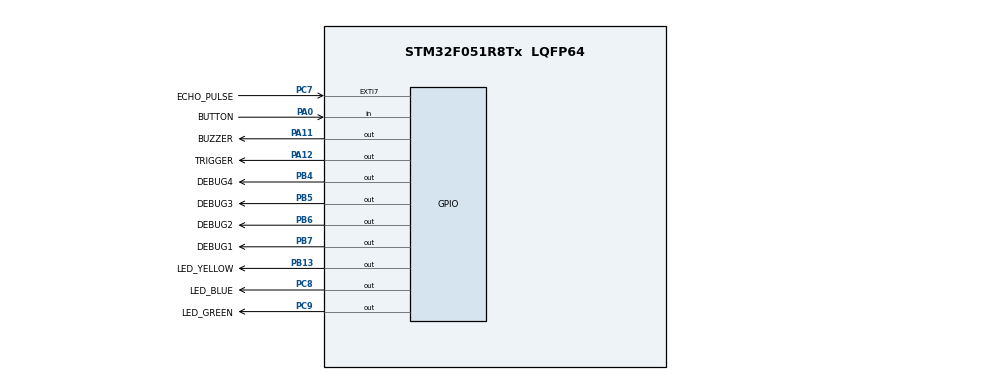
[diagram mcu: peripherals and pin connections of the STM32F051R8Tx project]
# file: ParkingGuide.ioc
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Mcu.Family=STM32F0
Mcu.Name=STM32F051R8Tx
Mcu.Package=LQFP64
NVIC.EXTI4_15_IRQn=true\:0\:0\:false\:false\:true\:true\:true
NVIC.TIM14_IRQn=true\:0\:0\:false\:false\:true\:true\:true
PA0.GPIO_Label=BUTTON
PA0.GPIO_PuPd=GPIO_PULLDOWN
PA0.Signal=GPIO_Input
PA11.GPIO_Label=BUZZER
PA11.PinState=GPIO_PIN_SET
PA11.Signal=GPIO_Output
PA12.GPIO_Label=TRIGGER
PA12.Signal=GPIO_Output
PB13.GPIO_Label=LED_YELLOW
PB13.Signal=GPIO_Output
PB4.GPIO_Label=DEBUG4
PB4.Signal=GPIO_Output
PB5.GPIO_Label=DEBUG3
PB5.Signal=GPIO_Output
PB6.GPIO_Label=DEBUG2
PB6.Signal=GPIO_Output
PB7.GPIO_Label=DEBUG1
PB7.Signal=GPIO_Output
PC7.GPIO_Label=ECHO_PULSE
PC7.GPIO_ModeDefaultEXTI=GPIO_MODE_IT_FALLING
PC7.Signal=GPXTI7
PC8.GPIO_Label=LED_BLUE
PC8.PinState=GPIO_PIN_SET
PC8.Signal=GPIO_Output
PC9.GPIO_Label=LED_GREEN
PC9.PinState=GPIO_PIN_SET
PC9.Signal=GPIO_Output
ProjectManager.HeapSize=0x200
ProjectManager.StackSize=0x400
ProjectManager.TargetToolchain=STM32CubeIDE
TIM14.Period=8000
TIM14.Prescaler=100
VP_TIM14_VS_ClockSourceINT.Mode=Enable_Timer
VP_TIM2_VS_ClockSourceINT.Mode=Internal
VP_TIM6_VS_ClockSourceINT.Mode=Enable_Timer
board=custom

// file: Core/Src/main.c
/* USER CODE BEGIN Header */
/**
  ******************************************************************************
  * @file           : main.c
  * @brief          : Main program body
  ******************************************************************************
  * @attention
  *
  * <h2><center>&copy; Copyright (c) 2021 STMicroelectronics.
  * All rights reserved.</center></h2>
  *
  * This software component is licensed by ST under BSD 3-Clause license,
  * the "License"; You may not use this file except in compliance with the
  * License. You may obtain a copy of the License at:
  *                        opensource.org/licenses/BSD-3-Clause
  *
  ******************************************************************************
  */
/* USER CODE END Header */
#include "main.h"

/* USER CODE BEGIN PTD */
/**
 * @details state machine states used to program a new parking distance
 */
typedef enum _ConfigState_e
{
	eConfigState_Idle,
	eConfigState_ButtonPressed,
	eConfigState_NewDistance,
	eConfigState_ProgramDistance,
	eConfigState_Done,
}eConfigState_t;

/**
 * Structure of state machine control states used of when a new parking
 * distance is being requested by the user.
 */
typedef struct _UserState_s
{
	uint32_t buttonCnt; //< delay count
	eConfigState_t state; //< what the program state is
	uint32_t distance; //< distance to program
}sUserState_t;

/* USER CODE END PTD */

/* USER CODE BEGIN PD */

#define DISTANCE (1200)
#define DISTANCE_MARGINE (100)
#define FLASH_SECTOR_START_ADDRESS (0x800c000)
#define TIME_ARRAY_SIZE (4) //< number of samples to avg for better distance

/* USER CODE END PD */

TIM_HandleTypeDef htim2;
TIM_HandleTypeDef htim6;
TIM_HandleTypeDef htim14;

/* USER CODE BEGIN PV */
static uint32_t tl_TimestampIdx = 0;
static uint32_t tl_TimeArraySum = 0;
static uint32_t tl_AvgTime;
static uint32_t tl_StartTime;
static uint32_t tl_EndTime;
static uint32_t tl_DeltaTime;
static uint32_t tl_Distance;
static uint32_t tl_MeasureDistance = DISTANCE;

static uint8_t tl_DistanceReadyFlag = 0;
static sUserState_t tl_UserConfig = {.buttonCnt=0,.state=eConfigState_Idle};

/* USER CODE END PV */

void SystemClock_Config(void);
static void MX_GPIO_Init(void);
static void MX_TIM14_Init(void);
static void MX_TIM6_Init(void);
static void MX_TIM2_Init(void);
/* USER CODE BEGIN PFP */

/**
 * GPIO pin for timing/testing
 */
static void SetDebug1()
{
	HAL_GPIO_WritePin(DEBUG1_GPIO_Port, DEBUG1_Pin, GPIO_PIN_SET);
}

/**
 * GPIO pin for timing/testing
 */
static void ClrDebug1()
{
	HAL_GPIO_WritePin(DEBUG1_GPIO_Port, DEBUG1_Pin, GPIO_PIN_RESET);
}

/**
 * GPIO pin for timing/testing
 */
static void SetDebug2()
{
	HAL_GPIO_WritePin(DEBUG2_GPIO_Port, DEBUG2_Pin, GPIO_PIN_SET);
}

/**
 * GPIO pin for timing/testing
 */
static void ClrDebug2()
{
	HAL_GPIO_WritePin(DEBUG2_GPIO_Port, DEBUG2_Pin, GPIO_PIN_RESET);
}

/**
 * GPIO pin for timing/testing
 */
static void SetDebug3()
{
	HAL_GPIO_WritePin(DEBUG3_GPIO_Port, DEBUG3_Pin, GPIO_PIN_SET);
}

/**
 * GPIO pin for timing/testing
 */
static void ClrDebug3()
{
	HAL_GPIO_WritePin(DEBUG3_GPIO_Port, DEBUG3_Pin, GPIO_PIN_RESET);
}

/**
 * GPIO pin for timing/testing
 */
static void SetDebug4()
{
	HAL_GPIO_WritePin(DEBUG4_GPIO_Port, DEBUG4_Pin, GPIO_PIN_SET);
}

/**
 * GPIO pin for timing/testing
 */
static void ClrDebug4()
{
	HAL_GPIO_WritePin(DEBUG4_GPIO_Port, DEBUG4_Pin, GPIO_PIN_RESET);
}

/**
 * @brief Set the Trigger GPIO
 */
static void SetTrigger()
{
	HAL_GPIO_WritePin(TRIGGER_GPIO_Port, TRIGGER_Pin, GPIO_PIN_SET);
}

/**
 * @brief Clear the Trigger GPIO
 */
static void ClrTrigger()
{
	HAL_GPIO_WritePin(TRIGGER_GPIO_Port, TRIGGER_Pin, GPIO_PIN_RESET);
}

/**
 * @brief Set the Blue LED
 */
static void SetBlueLED()
{
	HAL_GPIO_WritePin(LED_BLUE_GPIO_Port, LED_BLUE_Pin, GPIO_PIN_SET);
}

/**
 * @brief Clear the Blue LED
 */
static void ClrBlueLED()
{
	HAL_GPIO_WritePin(LED_BLUE_GPIO_Port, LED_BLUE_Pin, GPIO_PIN_RESET);
}

/**
 * @brief Toggle the Blue LED
 */
static void ToggleBlueLED()
{
	HAL_GPIO_TogglePin(LED_BLUE_GPIO_Port, LED_BLUE_Pin);
}

/**
 * @brief Set the Green LED
 */
static void SetGreenLED()
{
	  HAL_GPIO_WritePin(LED_GREEN_GPIO_Port, LED_GREEN_Pin, GPIO_PIN_SET);
}

/**
 * @brief Clear the Green LED
 */
static void ClrGreenLED()
{
	  HAL_GPIO_WritePin(LED_GREEN_GPIO_Port, LED_GREEN_Pin, GPIO_PIN_RESET);
}

/**
 * @brief Toggle the Green LED
 */
static void ToggleGreenLED()
{
	HAL_GPIO_TogglePin(LED_GREEN_GPIO_Port, LED_GREEN_Pin);
}

///**
// * @brief Set the Yellow LED
// */
//static void SetYellowLED()
//{
//	HAL_GPIO_WritePin(LED_YELLOW_GPIO_Port, LED_YELLOW_Pin, GPIO_PIN_SET);
//}

/**
 * @brief Clear the Yellow LED
 */
static void ClrYellowLED()
{
	HAL_GPIO_WritePin(LED_YELLOW_GPIO_Port, LED_YELLOW_Pin, GPIO_PIN_RESET);
}

/**
 * @brief Toggle the Yellow LED
 */
static void ToggleYellowLED()
{
	HAL_GPIO_TogglePin(LED_YELLOW_GPIO_Port, LED_YELLOW_Pin);
}

/**
 * @brief Toggle buzzer output
 */
static void ToggleBuzzer()
{
	HAL_GPIO_TogglePin(BUZZER_GPIO_Port, BUZZER_Pin);
}

/**
 * @brief Turn Buzzer OFF
 */
static void BuzzerOFF()
{
	HAL_GPIO_WritePin(BUZZER_GPIO_Port, BUZZER_Pin, GPIO_PIN_RESET);
}

/**
 * @brief Turn Buzzer ON
 */
static void BuzzerON()
{
	HAL_GPIO_WritePin(BUZZER_GPIO_Port, BUZZER_Pin, GPIO_PIN_SET);
}

/**
 * @brief Read the user button press
 */
static uint8_t ReadButton()
{
	uint8_t buttonFlag = 0;
	if( HAL_GPIO_ReadPin(BUTTON_GPIO_Port, BUTTON_Pin) )
	{
		buttonFlag = 1;
	}
	return buttonFlag;
}

/**
 * @brief State machine to program new parking distance to FLASH
 */
static void SetUserConfig(sUserState_t *ptrConfig)
{
#define PRE_BUTTON_PRESSED_TIME  (2) // number of counts before we deem the button is pressed
#define BUTTON_PRESSED_TIME (6)
#define DEFINE_NEW_DISTANCE (4)

	switch(ptrConfig->state)
	{
	case eConfigState_Idle:
		SetDebug1();
		ClrDebug1();
		if( ptrConfig->buttonCnt < PRE_BUTTON_PRESSED_TIME )
		{
			ptrConfig->buttonCnt++;
		}
		else
		{
			ptrConfig->buttonCnt=0;
			ptrConfig->state = eConfigState_ButtonPressed;
			ClrBlueLED();
			ClrGreenLED();
			ptrConfig->distance = 0;
		}
		break;
	case eConfigState_ButtonPressed:
		SetDebug2();
		ClrDebug2();
		ToggleYellowLED();
		if( ptrConfig->buttonCnt < BUTTON_PRESSED_TIME )
		{
			ptrConfig->buttonCnt++;
		}
		else
		{
			ptrConfig->buttonCnt=0;
			ptrConfig->state = eConfigState_NewDistance;
			ClrYellowLED();
		}
		break;
	case eConfigState_NewDistance:
		SetDebug3();
		ClrDebug3();
		ToggleBlueLED();
		ToggleGreenLED();
		if( ptrConfig->buttonCnt < DEFINE_NEW_DISTANCE )
		{
			ptrConfig->buttonCnt++;
			ptrConfig->distance += tl_Distance;
		}
		else
		{
			ptrConfig->buttonCnt=0;
			ptrConfig->distance = ptrConfig->distance / DEFINE_NEW_DISTANCE;
			ptrConfig->state = eConfigState_ProgramDistance;
		}
		break;
	case eConfigState_ProgramDistance:
		SetDebug4();
		ClrDebug4();
		ptrConfig->state = eConfigState_Done;
		break;
	case eConfigState_Done:
		SetDebug4();
		ClrDebug4();
		break;
	}
}

/**
 * @brief API to read word of data from FLASH
 */
static void FlashReadData (uint32_t StartPageAddress, uint32_t *RxBuf, uint16_t numberofwords)
{
	while (1)
	{
		*RxBuf = *(__IO uint32_t *)StartPageAddress;
		StartPageAddress += 4;
		RxBuf++;
		if (!(numberofwords--))
			break;
	}
}

/**
 * @brief Read the parking distance from FLASH
 */
static uint32_t ReadDistanceFromFlash()
{
	uint32_t distance = 0;

	FlashReadData (FLASH_SECTOR_START_ADDRESS,&distance,1);

	if( distance > (20*12*100) )
		distance = DISTANCE;
	return distance;
}

/**
 * @brief program parking distance word to FLASH
 */
static uint32_t ProgramDistanceToFlash(uint32_t NewDistance)
{
	static FLASH_EraseInitTypeDef EraseInitStruct;

	uint32_t errorMsg = 0;

	/* Fill EraseInit structure*/
	EraseInitStruct.TypeErase   = FLASH_TYPEERASE_PAGES;
	EraseInitStruct.PageAddress = FLASH_SECTOR_START_ADDRESS;
	EraseInitStruct.NbPages     = 1;

	HAL_FLASH_Unlock();

	if (HAL_FLASHEx_Erase(&EraseInitStruct, &errorMsg) != HAL_OK)
	{
		/*Error occurred while page erase.*/
		errorMsg = HAL_FLASH_GetError ();
	}

	if (HAL_FLASH_Program(FLASH_TYPEPROGRAM_WORD
			, FLASH_SECTOR_START_ADDRESS
			, NewDistance)
			!= HAL_OK)
	{
		/*Error occurred while page erase.*/
		errorMsg = HAL_FLASH_GetError ();
	}

	HAL_FLASH_Lock();
	return errorMsg;
}

/* USER CODE END PFP */

/* USER CODE BEGIN 0 */
/**
 * @brief TIM14 Callback handler - Trigger pulse generation
 *
 * @detail This callback will be called every 100ms from the
 * TIM14 timer.  This is needed as the HC-SR04 requires a short
 * trigger pulse to start a measurement.  According to the
 * HC-SR04 spec this pulse should not happen any faster than 60ms.
 * This method will also capture the time stamp to be used as part
 * of the HC-SR04 pulse distance pulse measurement.
 */
void HAL_TIM_PeriodElapsedCallback(TIM_HandleTypeDef *htim)
{
	if( htim->Instance== TIM14)
	{
		tl_StartTime = TIM2->CNT;
		SetTrigger();
		ClrTrigger();
	}
}

/**
 * @brief Interrupt Callback to be called when PC7 detects a falling edge
 *
 * @detail This callback method will be called on External Interrupt with
 * a falling edge trigger assigned to Port C7 pin.
 * When a falling edge is detected, this code will read the 32bit counter TIM2
 * and determine how long the time pulse generated by the HC-SR04 is.  This
 * pulse size divided by 148 will provide inches.
 * Now there is a constant time from when the Trigger pulse is generated until
 * when the HC-SR04 pulse is started.  This constant time of 500uS is subtracted.
 */
void HAL_GPIO_EXTI_Callback(uint16_t GPIO_Pin)
{
#define TIME_TO_PULSE (4000) // there is a constant time from start of pulse to subtract
#define CLOCK_RATE (8) // clock rate in MHz
#define TIME_TO_INCHES (148)
	if( tl_TimestampIdx++ < TIME_ARRAY_SIZE)
	{
		tl_EndTime = TIM2->CNT;

		if( tl_StartTime >  tl_EndTime )
		{
			tl_DeltaTime = (0xFFFFFFFF - tl_StartTime) + tl_EndTime;
		}
		else
		{
			tl_DeltaTime = tl_EndTime - tl_StartTime;
		}

		tl_TimeArraySum += tl_DeltaTime;

	}
	else
	{

		tl_AvgTime = tl_TimeArraySum / TIME_ARRAY_SIZE;
		tl_Distance = ((tl_AvgTime - TIME_TO_PULSE)*100)/ (CLOCK_RATE * TIME_TO_INCHES);
		tl_TimestampIdx = 0;
		tl_TimeArraySum = 0;
		tl_DistanceReadyFlag = 1;
	}
}

/* USER CODE END 0 */

int main(void)
{

  /* MCU Configuration--------------------------------------------------------*/

  /* Reset of all peripherals, Initializes the Flash interface and the Systick. */
  HAL_Init();

  /* Configure the system clock */
  SystemClock_Config();

  /* Initialize all configured peripherals */
  MX_GPIO_Init();
  MX_TIM14_Init();
  MX_TIM6_Init();
  MX_TIM2_Init();
  /* USER CODE BEGIN 2 */

  TIM1->CCR1 = 1;
  HAL_TIM_Base_Start_IT(&htim14);
  HAL_TIM_Base_Start(&htim6);
  HAL_TIM_Base_Start(&htim2);

  tl_MeasureDistance = ReadDistanceFromFlash();

  /* USER CODE END 2 */

  /* Infinite loop */
  while (1)
  {

    /* USER CODE BEGIN 3 */
	  if(tl_DistanceReadyFlag)
	  {
		  /*
		   * loop every half second to provide details
		   * to user
		   */
		  tl_DistanceReadyFlag = 0;
		  if (ReadButton() )
		  {
			  SetUserConfig( &tl_UserConfig);
			  if( tl_UserConfig.state > eConfigState_ProgramDistance )
			  {
				  tl_MeasureDistance = tl_UserConfig.distance;
				  ProgramDistanceToFlash(tl_MeasureDistance);
			  }
		  }
		  else
		  {
			  if( tl_UserConfig.state)
			  {

				  tl_UserConfig.buttonCnt = 0;
				  tl_UserConfig.state = eConfigState_Idle;
			  }

			  if( tl_Distance < (tl_MeasureDistance - DISTANCE_MARGINE) )
			  {
				  /*
				   * indicate that distance is too close
				   */
				  ClrGreenLED();
				  SetBlueLED();
				  BuzzerON();

			  }
			  else if(tl_Distance < (tl_MeasureDistance+ DISTANCE_MARGINE) )
			  {
				  /*
				   * indicate that distance is now within 1" of the programmed distance
				   */
				  SetBlueLED();
				  SetGreenLED();
				  ToggleBuzzer();
			  }
			  else
			  {
				  /*
				   * indicate that distance is too far away
				   */
				  BuzzerOFF();
				  ClrBlueLED();
				  SetGreenLED();
			  }
		  }
	  }
  }
  /* USER CODE END 3 */
}

void SystemClock_Config(void)
{
  RCC_OscInitTypeDef RCC_OscInitStruct = {0};
  RCC_ClkInitTypeDef RCC_ClkInitStruct = {0};

  /** Initializes the RCC Oscillators according to the specified parameters
  * in the RCC_OscInitTypeDef structure.
  */
  RCC_OscInitStruct.OscillatorType = RCC_OSCILLATORTYPE_HSI;
  RCC_OscInitStruct.HSIState = RCC_HSI_ON;
  RCC_OscInitStruct.HSICalibrationValue = RCC_HSICALIBRATION_DEFAULT;
  RCC_OscInitStruct.PLL.PLLState = RCC_PLL_NONE;
  if (HAL_RCC_OscConfig(&RCC_OscInitStruct) != HAL_OK)
  {
    Error_Handler();
  }
  /** Initializes the CPU, AHB and APB buses clocks
  */
  RCC_ClkInitStruct.ClockType = RCC_CLOCKTYPE_HCLK|RCC_CLOCKTYPE_SYSCLK
                              |RCC_CLOCKTYPE_PCLK1;
  RCC_ClkInitStruct.SYSCLKSource = RCC_SYSCLKSOURCE_HSI;
  RCC_ClkInitStruct.AHBCLKDivider = RCC_SYSCLK_DIV1;
  RCC_ClkInitStruct.APB1CLKDivider = RCC_HCLK_DIV1;

  if (HAL_RCC_ClockConfig(&RCC_ClkInitStruct, FLASH_LATENCY_0) != HAL_OK)
  {
    Error_Handler();
  }
}

static void MX_TIM2_Init(void)
{

  TIM_ClockConfigTypeDef sClockSourceConfig = {0};
  TIM_MasterConfigTypeDef sMasterConfig = {0};

  htim2.Instance = TIM2;
  htim2.Init.Prescaler = 0;
  htim2.Init.CounterMode = TIM_COUNTERMODE_UP;
  htim2.Init.Period = 4294967295;
  htim2.Init.ClockDivision = TIM_CLOCKDIVISION_DIV1;
  htim2.Init.AutoReloadPreload = TIM_AUTORELOAD_PRELOAD_DISABLE;
  if (HAL_TIM_Base_Init(&htim2) != HAL_OK)
  {
    Error_Handler();
  }
  sClockSourceConfig.ClockSource = TIM_CLOCKSOURCE_INTERNAL;
  if (HAL_TIM_ConfigClockSource(&htim2, &sClockSourceConfig) != HAL_OK)
  {
    Error_Handler();
  }
  sMasterConfig.MasterOutputTrigger = TIM_TRGO_RESET;
  sMasterConfig.MasterSlaveMode = TIM_MASTERSLAVEMODE_DISABLE;
  if (HAL_TIMEx_MasterConfigSynchronization(&htim2, &sMasterConfig) != HAL_OK)
  {
    Error_Handler();
  }

}

static void MX_TIM6_Init(void)
{

  TIM_MasterConfigTypeDef sMasterConfig = {0};

  htim6.Instance = TIM6;
  htim6.Init.Prescaler = 0;
  htim6.Init.CounterMode = TIM_COUNTERMODE_UP;
  htim6.Init.Period = 65535;
  htim6.Init.AutoReloadPreload = TIM_AUTORELOAD_PRELOAD_DISABLE;
  if (HAL_TIM_Base_Init(&htim6) != HAL_OK)
  {
    Error_Handler();
  }
  sMasterConfig.MasterOutputTrigger = TIM_TRGO_RESET;
  sMasterConfig.MasterSlaveMode = TIM_MASTERSLAVEMODE_DISABLE;
  if (HAL_TIMEx_MasterConfigSynchronization(&htim6, &sMasterConfig) != HAL_OK)
  {
    Error_Handler();
  }

}

static void MX_TIM14_Init(void)
{

  htim14.Instance = TIM14;
  htim14.Init.Prescaler = 100;
  htim14.Init.CounterMode = TIM_COUNTERMODE_UP;
  htim14.Init.Period = 8000;
  htim14.Init.ClockDivision = TIM_CLOCKDIVISION_DIV1;
  htim14.Init.AutoReloadPreload = TIM_AUTORELOAD_PRELOAD_DISABLE;
  if (HAL_TIM_Base_Init(&htim14) != HAL_OK)
  {
    Error_Handler();
  }

}

static void MX_GPIO_Init(void)
{
  GPIO_InitTypeDef GPIO_InitStruct = {0};

  /* GPIO Ports Clock Enable */
  __HAL_RCC_GPIOA_CLK_ENABLE();
  __HAL_RCC_GPIOB_CLK_ENABLE();
  __HAL_RCC_GPIOC_CLK_ENABLE();

  /*Configure GPIO pin Output Level */
  HAL_GPIO_WritePin(GPIOB, LED_YELLOW_Pin|DEBUG4_Pin|DEBUG3_Pin|DEBUG2_Pin
                          |DEBUG1_Pin, GPIO_PIN_RESET);

  /*Configure GPIO pin Output Level */
  HAL_GPIO_WritePin(GPIOC, LED_BLUE_Pin|LED_GREEN_Pin, GPIO_PIN_SET);

  /*Configure GPIO pin Output Level */
  HAL_GPIO_WritePin(BUZZER_GPIO_Port, BUZZER_Pin, GPIO_PIN_SET);

  /*Configure GPIO pin Output Level */
  HAL_GPIO_WritePin(TRIGGER_GPIO_Port, TRIGGER_Pin, GPIO_PIN_RESET);

  /*Configure GPIO pin : BUTTON_Pin */
  GPIO_InitStruct.Pin = BUTTON_Pin;
  GPIO_InitStruct.Mode = GPIO_MODE_INPUT;
  GPIO_InitStruct.Pull = GPIO_PULLDOWN;
  HAL_GPIO_Init(BUTTON_GPIO_Port, &GPIO_InitStruct);

  /*Configure GPIO pins : LED_YELLOW_Pin DEBUG4_Pin DEBUG3_Pin DEBUG2_Pin
                           DEBUG1_Pin */
  GPIO_InitStruct.Pin = LED_YELLOW_Pin|DEBUG4_Pin|DEBUG3_Pin|DEBUG2_Pin
                          |DEBUG1_Pin;
  GPIO_InitStruct.Mode = GPIO_MODE_OUTPUT_PP;
  GPIO_InitStruct.Pull = GPIO_NOPULL;
  GPIO_InitStruct.Speed = GPIO_SPEED_FREQ_LOW;
  HAL_GPIO_Init(GPIOB, &GPIO_InitStruct);

  /*Configure GPIO pin : ECHO_PULSE_Pin */
  GPIO_InitStruct.Pin = ECHO_PULSE_Pin;
  GPIO_InitStruct.Mode = GPIO_MODE_IT_FALLING;
  GPIO_InitStruct.Pull = GPIO_NOPULL;
  HAL_GPIO_Init(ECHO_PULSE_GPIO_Port, &GPIO_InitStruct);

  /*Configure GPIO pins : LED_BLUE_Pin LED_GREEN_Pin */
  GPIO_InitStruct.Pin = LED_BLUE_Pin|LED_GREEN_Pin;
  GPIO_InitStruct.Mode = GPIO_MODE_OUTPUT_PP;
  GPIO_InitStruct.Pull = GPIO_NOPULL;
  GPIO_InitStruct.Speed = GPIO_SPEED_FREQ_LOW;
  HAL_GPIO_Init(GPIOC, &GPIO_InitStruct);

  /*Configure GPIO pins : BUZZER_Pin TRIGGER_Pin */
  GPIO_InitStruct.Pin = BUZZER_Pin|TRIGGER_Pin;
  GPIO_InitStruct.Mode = GPIO_MODE_OUTPUT_PP;
  GPIO_InitStruct.Pull = GPIO_NOPULL;
  GPIO_InitStruct.Speed = GPIO_SPEED_FREQ_LOW;
  HAL_GPIO_Init(GPIOA, &GPIO_InitStruct);

  /* EXTI interrupt init*/
  HAL_NVIC_SetPriority(EXTI4_15_IRQn, 0, 0);
  HAL_NVIC_EnableIRQ(EXTI4_15_IRQn);

}

void Error_Handler(void)
{
}

/************************ (C) COPYRIGHT STMicroelectronics *****END OF FILE****/
